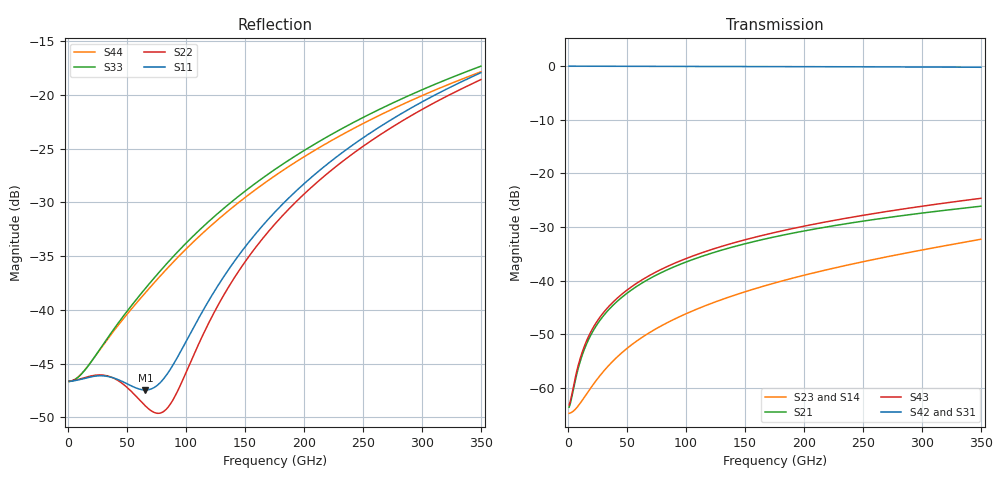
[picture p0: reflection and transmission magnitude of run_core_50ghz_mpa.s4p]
#  Hz  S  RI  R  50
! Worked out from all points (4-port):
!   400 points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, 875 MHz to 350 GHz, reference 50 ohm
!   strongest paths, dB at 875 MHz, 88.38 GHz, 175.9 GHz, 263.4 GHz, 350 GHz:
!     S42: 0.0, -0.1, -0.1, -0.2, -0.2
!     S31: 0.0, -0.1, -0.1, -0.2, -0.3
!     S43: -63.2, -36.9, -31.0, -27.4, -24.7
!     S21: -63.6, -37.6, -31.8, -28.5, -26.1
!     S23: -64.7, -47.4, -40.4, -35.9, -32.3
!     S14: -64.7, -47.5, -40.5, -36.0, -32.4
!   lowest |S11| = -47.4 dB at 65.62 GHz (marker M1), VSWR 1.01, Z = 50.2 - j0.377 ohm
!   |S11| at or under -10 dB: start of sweep to end of sweep
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8.75e8  0.00466 -1.41e-06  0.000647 0.000137  0.9949 -0.00209  -0.00058 3.41e-05
        0.000647 0.000137  0.00468 1.53e-05  -0.000579 3.5e-05  0.9948 -0.0021
        0.9949 -0.00211  -0.000585 2.65e-05  0.00464 1.05e-06  0.000677 0.000149
        -0.000584 2.72e-05  0.9948 -0.00211  0.000678 0.000149  0.00465 2.72e-05
2.1875e10  0.00489 -0.000454  0.00109 0.00333  0.9924 -0.0517  -0.000613 0.00089
           0.00109 0.00332  0.00496 -3.74e-05  -0.00061 0.000912  0.9924 -0.0517
           0.9924 -0.052  -0.000648 0.000715  0.00596 -0.000426  0.000832 0.00365
           -0.000645 0.000732  0.9923 -0.0518  0.000832 0.00365  0.00597 0.000227
6.5625e10  0.00197 -0.00376  0.00377 0.00918  0.9799 -0.1506  -0.000428 0.00302
           0.00377 0.00917  0.00248 -0.00257  -0.000417 0.00308  0.9798 -0.1506
           0.9797 -0.1517  -0.00056 0.00255  0.0116 -0.005  0.00135 0.0105
           -0.000542 0.0026  0.9798 -0.1512  0.00134 0.0105  0.0116 -0.00305
8.575e10  -0.00126 -0.00504  0.00573 0.0115  0.9708 -0.1954  -0.000133 0.00406
          0.00573 0.0115  -0.000406 -0.00356  -0.000117 0.00414  0.9707 -0.1954
          0.9706 -0.1967  -0.000336 0.00347  0.0149 -0.00805  0.00168 0.0137
          -0.000307 0.00353  0.9707 -0.1961  0.00166 0.0137  0.015 -0.00551
1.3825e11  -0.0148 -0.0061  0.0127 0.0159  0.9378 -0.3093  0.00133 0.00689
           0.0127 0.0159  -0.0127 -0.00413  0.00136 0.007  0.9377 -0.3092
           0.9373 -0.3115  0.000885 0.00601  0.0252 -0.0192  0.00278 0.0219
           0.000957 0.0061  0.9377 -0.3105  0.00273 0.0219  0.0254 -0.0151
1.95125e11  -0.0364 -0.000712  0.0224 0.0173  0.8868 -0.4271  0.00428 0.00981
            0.0224 0.0173  -0.0325 0.00116  0.00434 0.00997  0.8868 -0.4268
            0.8856 -0.4302  0.00349 0.0087  0.0379 -0.0369  0.00444 0.031
            0.00364 0.00881  0.8865 -0.4289  0.00435 0.031  0.0384 -0.0312
3.5e11  -0.1077 0.0667  0.0493 -0.00182  0.6703 -0.7015  0.0204 0.0127
        0.0493 -0.00186  -0.0987 0.0639  0.0205 0.013  0.6708 -0.7011
        0.6649 -0.7065  0.0184 0.0115  0.0653 -0.1191  0.0127 0.0569
        0.0188 0.0115  0.6686 -0.7054  0.0125 0.0571  0.0667 -0.109
